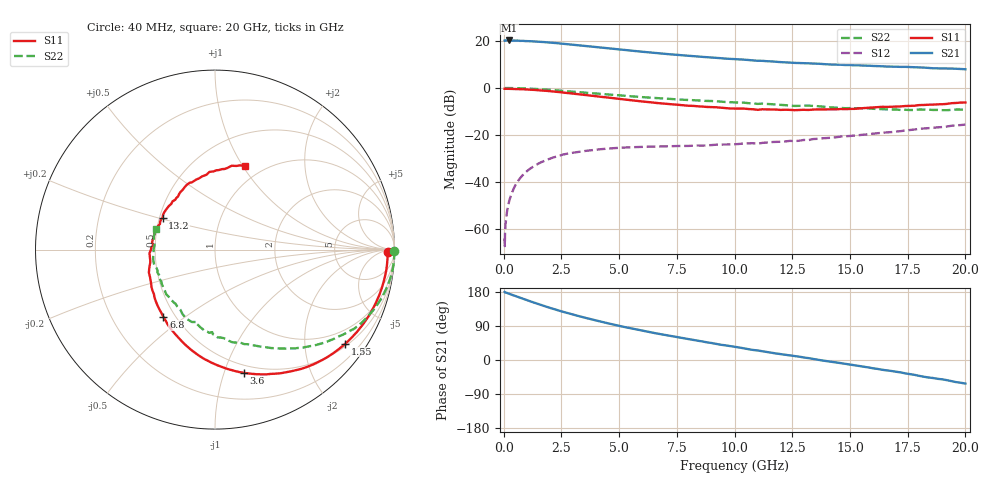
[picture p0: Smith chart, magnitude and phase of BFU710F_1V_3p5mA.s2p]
! Filename:  P:\Prog\Test\Noise\ATS_data\Testdata_Net\BFU710\BFU710_2W_A1_1V3.5mA_D.s2p
! Date/Time: Fri 29/Apr/2011 13:26:07
! BFU710_2W_A1_1V3.5mA
! bias mode 1: Vout= 1.0001 V, Iout= 3.4800 mA, Vin= 0.8182 V, Iin= 0.0115 mA
! Date/time Wed Mar 16 13:18:52 2011
! Device data file deembeded for feedlines and parallel
! Original file: \BFU710\BFU710_2W_A1_1V3.5mA_R.s2p
! Feed-files: PR003V01_101208_Feed1.s2p, PR003V01_101208_Feed2.s2p
! Parallel-file: PR003V01_101208_Par.s2p
# MHz S MA R 50
!  Freq-MHz  S11-mag  S11-arg  S21-mag  S21-arg  S12-mag  S12-arg  S22-mag  S22-arg
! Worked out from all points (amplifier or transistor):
!   167 points, 40 MHz to 20 GHz, reference 50 ohm
!   highest |S21| = 20.3 dB at 240 MHz (marker M1)
!   |S21| within 3 dB of that: start of sweep to 4.188 GHz
!   unconditionally stable (mu >= 1): 7.621 GHz to 18.74 GHz
!   at 550 MHz: K = 0.02, MSG = 30.4 dB, |S12| = -40.6 dB
!   at 4.2 GHz: K = 0.51, MSG = 21.6 dB, |S12| = -26.0 dB
!   at 20 GHz: K = 0.90, MSG = 11.8 dB, |S12| = -15.6 dB
!   S11 on the Smith chart (normalised r, x): 40 MHz: 44, -19; 1.55 GHz: 0.57, -3.00; 3.6 GHz: 0.43, -1.17; 6.8 GHz: 0.43, -0.42; 13.2 GHz: 0.52, +0.21; 20 GHz: 0.83, +1.02
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40  0.9625 -0.9  10.24 179.4  0.0006329 86.5  0.9986 -0.4
50  0.9598 -1.6  10.28 178.7  0.0004317 83.7  0.9984 -0.6
60  0.9605 -1.2  10.16 178.5  0.000902 101.3  0.9992 -0.6
90  0.9627 -2.1  10.27 178.0  0.001422 89.4  0.9994 -1.1
240  0.9611 -5.6  10.29 174.7  0.003963 88.9  0.9992 -3.2
800  0.9432 -18.8  10.15 162.3  0.0136 79.7  0.9856 -10.8
1550  0.8956 -35.8  9.658 146.6  0.02533 67.7  0.9467 -20.4
2300  0.8304 -52.0  9.023 131.9  0.03514 57.7  0.8938 -29.4
2700  0.7892 -60.0  8.622 124.9  0.03967 52.0  0.8574 -33.5
3400  0.7234 -73.1  7.976 113.4  0.04494 44.4  0.8047 -39.9
3600  0.7053 -76.8  7.797 110.3  0.04634 42.6  0.7893 -41.5
4400  0.6358 -90.6  7.126 98.4  0.05101 35.9  0.7349 -47.9
5200  0.5731 -103.6  6.487 87.4  0.05409 30.2  0.684 -53.8
6000  0.5179 -115.8  5.923 77.4  0.05593 25.7  0.6403 -59.1
6800  0.4728 -127.5  5.441 68.2  0.0572 22.4  0.6034 -64.0
8200  0.4166 -146.9  4.778 53.0  0.05932 19.6  0.5515 -72.7
10200  0.3649 -173.6  4.075 33.0  0.06461 17.7  0.491 -86.3
13200  0.3415 148.9  3.358 5.0  0.07781 15.8  0.4222 -108.6
13400  0.3482 146.3  3.315 2.8  0.08213 15.3  0.4165 -112.3
16800  0.3995 107.2  2.855 -29.0  0.1155 5.1  0.3482 -149.2
18200  0.4357 91.0  2.723 -44.2  0.1379 -2.7  0.3488 -170.1
20000  0.4919 70.5  2.514 -62.1  0.1668 -14.0  0.3462 160.7
